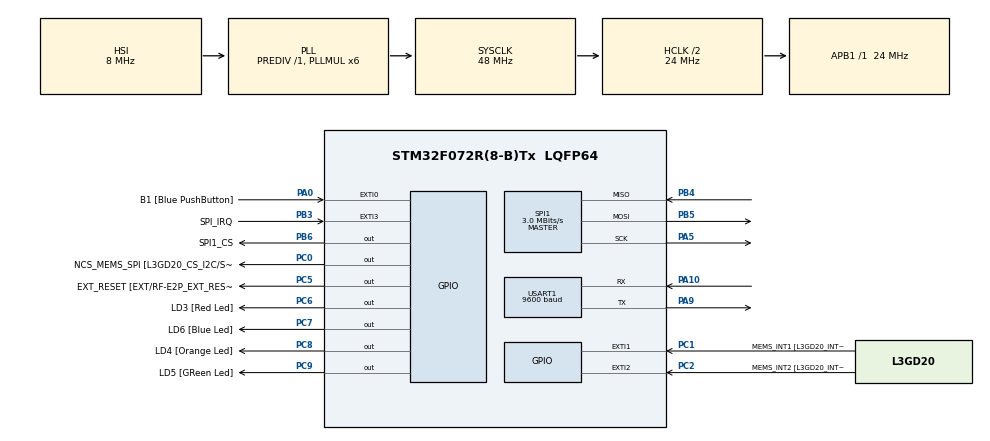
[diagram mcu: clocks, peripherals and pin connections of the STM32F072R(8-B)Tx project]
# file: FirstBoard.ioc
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Mcu.Family=STM32F0
Mcu.Name=STM32F072R(8-B)Tx
Mcu.Package=LQFP64
NVIC.EXTI0_1_IRQn=true\:0\:0\:false\:false\:true\:true
NVIC.EXTI2_3_IRQn=true\:0\:0\:false\:false\:true\:true
NVIC.USART1_IRQn=true\:0\:0\:false\:false\:true\:true
PA0.GPIO_Label=B1 [Blue PushButton]
PA0.GPIO_ModeDefaultEXTI=GPIO_MODE_IT_RISING_FALLING
PA0.Signal=GPXTI0
PA10.Mode=Asynchronous
PA10.Signal=USART1_RX
PA11.GPIO_Label=USBF4_DM
PA11.Signal=USB_DM
PA12.GPIO_Label=USBF4_DP
PA12.Signal=USB_DP
PA13.GPIO_Label=SWDIO
PA13.Signal=SYS_SWDIO
PA14.GPIO_Label=SWCLK
PA14.Signal=SYS_SWCLK
PA2.Signal=TSC_G1_IO3
PA3.Signal=TSC_G1_IO4
PA5.GPIO_PuPd=GPIO_NOPULL
PA5.GPIO_Speed=GPIO_SPEED_FREQ_HIGH
PA5.Mode=Full_Duplex_Master
PA5.Signal=SPI1_SCK
PA6.Signal=TSC_G2_IO3
PA7.Signal=TSC_G2_IO4
PA9.Mode=Asynchronous
PA9.Signal=USART1_TX
PB0.Signal=TSC_G3_IO2
PB1.Signal=TSC_G3_IO3
PB10.GPIO_Label=I2C2_SCL[EXT/RF-E2P_SCL]
PB10.Signal=I2C2_SCL
PB11.GPIO_Label=I2C2_SDA[EXT/RF-E2P_SDA]
PB11.Signal=I2C2_SDA
PB13.GPIO_Label=SPI2_SCK [L3GD20_SCL/SPC]
PB13.Signal=SPI2_SCK
PB14.GPIO_Label=SPI2_MISO [L3GD20_SDO]
PB14.Signal=SPI2_MISO
PB15.GPIO_Label=SPI2_MOSI [L3GD20_SDA/SDI]
PB15.Signal=SPI2_MOSI
PB3.GPIO_Label=SPI_IRQ
PB3.GPIO_ModeDefaultEXTI=GPIO_MODE_IT_RISING
PB3.GPIO_PuPd=GPIO_PULLDOWN
PB3.Signal=GPXTI3
PB4.Mode=Full_Duplex_Master
PB4.Signal=SPI1_MISO
PB5.Mode=Full_Duplex_Master
PB5.Signal=SPI1_MOSI
PB6.GPIO_Label=SPI1_CS
PB6.GPIO_PuPd=GPIO_PULLUP
PB6.Signal=GPIO_Output
PC0.GPIO_Label=NCS_MEMS_SPI [L3GD20_CS_I2C/SPI]
PC0.Signal=GPIO_Output
PC1.GPIO_Label=MEMS_INT1 [L3GD20_INT1]
PC1.GPIO_ModeDefaultEXTI=GPIO_MODE_EVT_RISING
PC1.Signal=GPXTI1
PC2.GPIO_Label=MEMS_INT2 [L3GD20_INT2]
PC2.GPIO_ModeDefaultEXTI=GPIO_MODE_EVT_RISING
PC2.Signal=GPXTI2
PC5.GPIO_Label=EXT_RESET [EXT/RF-E2P_EXT_RESET]
PC5.Signal=GPIO_Output
PC6.GPIO_Label=LD3 [Red Led]
PC6.Signal=GPIO_Output
PC7.GPIO_Label=LD6 [Blue Led]
PC7.Signal=GPIO_Output
PC8.GPIO_Label=LD4 [Orange Led]
PC8.Signal=GPIO_Output
PC9.GPIO_Label=LD5 [GReen Led]
PC9.Signal=GPIO_Output
ProjectManager.HeapSize=0x200
ProjectManager.StackSize=0x400
ProjectManager.TargetToolchain=MDK-ARM V5
RCC.AHBCLKDivider=RCC_SYSCLK_DIV2
RCC.AHBFreq_Value=24000000
RCC.APB1Freq_Value=24000000
RCC.APB1TimFreq_Value=24000000
RCC.HCLKFreq_Value=24000000
RCC.PLLMUL=RCC_PLL_MUL6
RCC.SYSCLKFreq_VALUE=48000000
RCC.SYSCLKSource=RCC_SYSCLKSOURCE_PLLCLK
SPI1.BaudRatePrescaler=SPI_BAUDRATEPRESCALER_8
SPI1.CalculateBaudRate=3.0 MBits/s
SPI1.DataSize=SPI_DATASIZE_8BIT
SPI1.Direction=SPI_DIRECTION_2LINES
SPI1.Mode=SPI_MODE_MASTER
SPI1.NSSPMode=SPI_NSS_PULSE_DISABLE
SPI1.VirtualType=VM_MASTER
USART1.BaudRate=9600
USART1.VirtualMode-Asynchronous=VM_ASYNC
USART1.WordLength=WORDLENGTH_8B
board=STM32F072B-DISCO

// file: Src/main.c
/**
  ******************************************************************************
  * File Name          : main.c
  * Description        : Main program body
  ******************************************************************************
  ** This notice applies to any and all portions of this file
  * that are not between comment pairs USER CODE BEGIN and
  * USER CODE END. Other portions of this file, whether
  * inserted by the user or by software development tools
  * are owned by their respective copyright owners.
  *
  * COPYRIGHT(c) 2018 STMicroelectronics
  *
  * Redistribution and use in source and binary forms, with or without modification,
  * are permitted provided that the following conditions are met:
  *   1. Redistributions of source code must retain the above copyright notice,
  *      this list of conditions and the following disclaimer.
  *   2. Redistributions in binary form must reproduce the above copyright notice,
  *      this list of conditions and the following disclaimer in the documentation
  *      and/or other materials provided with the distribution.
  *   3. Neither the name of STMicroelectronics nor the names of its contributors
  *      may be used to endorse or promote products derived from this software
  *      without specific prior written permission.
  *
  * THIS SOFTWARE IS PROVIDED BY THE COPYRIGHT HOLDERS AND CONTRIBUTORS "AS IS"
  * AND ANY EXPRESS OR IMPLIED WARRANTIES, INCLUDING, BUT NOT LIMITED TO, THE
  * IMPLIED WARRANTIES OF MERCHANTABILITY AND FITNESS FOR A PARTICULAR PURPOSE ARE
  * DISCLAIMED. IN NO EVENT SHALL THE COPYRIGHT HOLDER OR CONTRIBUTORS BE LIABLE
  * FOR ANY DIRECT, INDIRECT, INCIDENTAL, SPECIAL, EXEMPLARY, OR CONSEQUENTIAL
  * DAMAGES (INCLUDING, BUT NOT LIMITED TO, PROCUREMENT OF SUBSTITUTE GOODS OR
  * SERVICES; LOSS OF USE, DATA, OR PROFITS; OR BUSINESS INTERRUPTION) HOWEVER
  * CAUSED AND ON ANY THEORY OF LIABILITY, WHETHER IN CONTRACT, STRICT LIABILITY,
  * OR TORT (INCLUDING NEGLIGENCE OR OTHERWISE) ARISING IN ANY WAY OUT OF THE USE
  * OF THIS SOFTWARE, EVEN IF ADVISED OF THE POSSIBILITY OF SUCH DAMAGE.
  *
  ******************************************************************************
  */

#include "main.h"
#include "stm32f0xx_hal.h"

/* USER CODE BEGIN Includes */
#include "EventRecorder.h"              // Keil.ARM Compiler::Compiler:Event Recorder
#include "stdio.h"
#include "dwm1000.h"
#include <string.h>
#include <inttypes.h>
#include <math.h>
/* USER CODE END Includes */

SPI_HandleTypeDef hspi1;

UART_HandleTypeDef huart1;

/* USER CODE BEGIN PV */
/* Private variables ---------------------------------------------------------*/
uint8_t RxData[128];
uint8_t TxData[128];

int SlaveNummer = 1;
uint8_t master_first_message;
uint8_t master_second_message;
uint8_t slave_standard_message;

uint64_t t1, t2, t3, t4, t5, t6;
uint8_t t1_8[5];
uint8_t t2_8[5];
uint8_t t3_8[5];
uint8_t t4_8[5];
uint8_t t5_8[5];
uint8_t t6_8[5];

double tof;

float distance;
int distancemm[3];
float distanceMeasured;
float correctivePol[] = { -0.0081, 0.0928, 0.6569, -0.0612}; // Obtained from matlab
float previousPos[2];

// Boolean variables
uint8_t TxOk = 0;
uint8_t RxOk = 0;
uint8_t RxError = 0;

int state;

// UART Variables

int uartLen;
char uartBuffer[100];
char uartRx_indx, uartRx_data[2],uartRxBuffer[100], uartTransfer_cplt;
int uartPress_enter = 0;

// antenna calibration variables
int measure_counter = 0;
float moy_distance = 0;
float moy_tof = 0;
float sum_square = 0;
int old_antenna_delay = ANTENNA_DELAY;
/* USER CODE END PV */

void SystemClock_Config(void);
static void MX_GPIO_Init(void);
static void MX_SPI1_Init(void);
static void MX_USART1_UART_Init(void);
void trilateration2D(int ri[3], float prevPos[2]);

/* USER CODE BEGIN PFP */
/* Private function prototypes -----------------------------------------------*/

/* USER CODE END PFP */

int main(void)
{

  /* USER CODE BEGIN 1 */
	EventRecorderInitialize (EventRecordAll, 1);
  /* USER CODE END 1 */

  /* MCU Configuration----------------------------------------------------------*/

  /* Reset of all peripherals, Initializes the Flash interface and the Systick. */
  HAL_Init();

  /* Configure the system clock */
  SystemClock_Config();

  /* Initialize all configured peripherals */
  MX_GPIO_Init();
  MX_SPI1_Init();
  MX_USART1_UART_Init();

  /* USER CODE BEGIN 2 */
	_deviceHandle = &hspi1;					// Assign SPI handle

	/* initialisation of the DecaWave */
	HAL_Delay(10); //time for the DW to go from Wakeup to init and then IDLE
	DWM_Init();
	state = STATE_INIT;

	previousPos[0] = STARTPOSITIONX;
	previousPos[1] = STARTPOSITIONY;

	HAL_UART_Receive_IT(&huart1, (uint8_t *)uartRx_data, 1);

  /* USER CODE END 2 */

  /* Infinite loop */
  while (1)
  {

  /* USER CODE BEGIN 3 */
#ifdef MASTER_BOARD
		switch (state){
				case STATE_INIT :
						if (SlaveNummer > 3){
							SlaveNummer = 1;

							//HAL_Delay(90); // 100msec between 2 measures / ~10ms by measure
						}
						if (SlaveNummer == 1){
							master_first_message = 0x11;
							master_second_message	= 0x21;
							slave_standard_message	= 0x1A;
						}
						else if (SlaveNummer == 2){
							master_first_message = 0x12;
							master_second_message	= 0x22;
							slave_standard_message	= 0x2A;
						}
						else {
							master_first_message = 0x13;
							master_second_message	= 0x23;
							slave_standard_message	= 0x3A;
						}
						// IDLE to save Power
						DWM_Disable_Rx();
						HAL_GPIO_WritePin(GPIOC, LD3_Pin, GPIO_PIN_SET);
						HAL_GPIO_WritePin(GPIOC, LD4_Pin, GPIO_PIN_RESET);
						HAL_GPIO_WritePin(GPIOC, LD5_Pin, GPIO_PIN_RESET);
						HAL_GPIO_WritePin(GPIOC, LD6_Pin, GPIO_PIN_RESET);

						HAL_Delay(1);

						//Send first data
						TxData[0] = master_first_message;
						DWM_SendData(TxData, 1);

						//Change state to wait TX OK (polling)
						state = STATE_WAIT_FIRST_SEND;
				break;

				case STATE_WAIT_FIRST_SEND:
					if (TxOk){
						//get tx time (T1)
						DWM_ReadSPI_ext(TX_TIME, NO_SUB, t1_8, 5);
						state = STATE_WAIT_RESPONSE;
						TxOk = 0;
						HAL_GPIO_WritePin(GPIOC, LD5_Pin, GPIO_PIN_SET);

					}
				break;

				case STATE_WAIT_RESPONSE:
					if (RxError){
						RxError = 0;
						state = STATE_INIT;
					}
					if (RxOk){
						// Read Rx buffer
						DWM_ReceiveData(RxData);
						// Check RxFrame
						if (RxData[0] == slave_standard_message){
							//get rx time (t4)
							DWM_ReadSPI_ext(RX_TIME, NO_SUB, t4_8, 5);

							//Send second time
							//HAL_Delay(1);
							TxData[0] = master_second_message;
							DWM_SendData(TxData, 1);
							state = STATE_WAIT_SECOND_SEND;
							HAL_GPIO_WritePin(GPIOC, LD6_Pin, GPIO_PIN_SET);
						}
						else {
							state = STATE_INIT;
						}
						RxOk = 0;
					}
				break;

				case STATE_WAIT_SECOND_SEND:
						if (TxOk){
						//get tx time (T5)
							DWM_ReadSPI_ext(TX_TIME, NO_SUB, t5_8, 5);
							state = STATE_GET_TIMES;
							TxOk = 0;
					}
				break;

				case STATE_GET_TIMES:
					if (RxError){
						state = STATE_INIT;
						RxError = 0;
					}
					if (RxOk){
						//Read Rx Buffer
						DWM_ReceiveData(RxData);

						HAL_GPIO_WritePin(GPIOC, LD4_Pin, GPIO_PIN_SET);
						for (int i=0;i<5;i++){
							t2_8[i] = RxData[i];
							t3_8[i] = RxData[i+5];
							t6_8[i] = RxData[i+10];
						}
						// Cast all times to uint64
						t1 = t2 = t3 = t4 = t5 = t6 = 0;
						for (int i=0;i<5;i++){
							t1 = (t1 << 8) | t1_8[4-i];
							t2 = (t2 << 8) | t2_8[4-i];
							t3 = (t3 << 8) | t3_8[4-i];
							t4 = (t4 << 8) | t4_8[4-i];
							t5 = (t5 << 8) | t5_8[4-i];
							t6 = (t6 << 8) | t6_8[4-i];
						}
						if (t6 < t2 || t5 < t1){
							state = STATE_INIT;
						}
						else{
							state = STATE_COMPUTE_DISTANCE;
							RxOk = 0;
						}
					}
				break;

				case STATE_COMPUTE_DISTANCE :{
					uint64_t TroundA = (t4-t1);
					uint64_t TreplyB = (t3-t2);
					uint64_t TroundB = (t6-t3);
					uint64_t TreplyA = (t5-t4);
					tof = (TroundA + TroundB) - (TreplyA + TreplyB);
					tof = tof /4;
					if (TreplyB > TroundA){
						tof = 0;
						distance = 0;
					}
					else{
						double distancepicosec = tof/(128*499.2);
						distanceMeasured = distancepicosec * 299792458 * 0.000001;
						distance = correctivePol[0];
						for (int i = 1; i < 4; i++){
							// polynom evaluation
							distance = distance * distanceMeasured + correctivePol[i];
						}

						if (distance < 100){
							// antenna tunning
							distancemm[SlaveNummer-1] = distance*1000;
							if (SlaveNummer == 3){
								/*#ifdef UART_PLUGGED
								__disable_irq();
								uartLen = sprintf(uartBuffer,"[%i,%i,%i] \r\n",distancemm[0],distancemm[1],distancemm[2]);
								HAL_UART_Transmit(&huart1, (uint8_t *)uartBuffer, uartLen, HAL_MAX_DELAY);
								__enable_irq();
								#endif*/
								trilateration2D(distancemm, previousPos);
								#ifdef UART_PLUGGED
								__disable_irq();
								uartLen = sprintf(uartBuffer,"[%f , %f] #%i \r\n",previousPos[0], previousPos[1], measure_counter);
								HAL_UART_Transmit(&huart1, (uint8_t *)uartBuffer, uartLen, HAL_MAX_DELAY);
								__enable_irq();
								#endif
								measure_counter ++ ;
								SlaveNummer = 0;
								if (measure_counter >= 1000){
									state = END_STATE;
									break;
								}
							}
							/*
							else {
							#ifdef UART_PLUGGED
							__disable_irq();
							uartLen = sprintf(uartBuffer,"%f\n",distance);
							HAL_UART_Transmit(&huart1, (uint8_t *)uartBuffer, uartLen, HAL_MAX_DELAY);
							__enable_irq();
							#endif
							}
							*/
							SlaveNummer ++;
						}
					}

					state = STATE_INIT;
				break;}

				case END_STATE:{
					HAL_GPIO_WritePin(GPIOC, LD3_Pin, GPIO_PIN_SET);
					HAL_GPIO_WritePin(GPIOC, LD4_Pin, GPIO_PIN_SET);
					HAL_GPIO_WritePin(GPIOC, LD5_Pin, GPIO_PIN_SET);
					HAL_GPIO_WritePin(GPIOC, LD6_Pin, GPIO_PIN_SET);
					#ifdef UART_PLUGGED
						__disable_irq();
						uartLen = sprintf(uartBuffer, "end\n");
						HAL_UART_Transmit(&huart1, (uint8_t *)uartBuffer, uartLen, HAL_MAX_DELAY);
						__enable_irq();
					#endif
					while (1){
					HAL_Delay(1000);
					}
				break;}
			}
#endif

#ifdef SLAVE_BOARD
		switch (state){
			case STATE_INIT :
				DWM_Enable_Rx();
				HAL_Delay(1);
				state = STATE_WAIT_RECEIVE;
				#ifdef SLAVE1_BOARD
				HAL_GPIO_WritePin(GPIOC, LD3_Pin, GPIO_PIN_RESET);
				HAL_GPIO_WritePin(GPIOC, LD4_Pin, GPIO_PIN_SET);
				HAL_GPIO_WritePin(GPIOC, LD5_Pin, GPIO_PIN_RESET);
				HAL_GPIO_WritePin(GPIOC, LD6_Pin, GPIO_PIN_RESET);
				#endif
				#ifdef SLAVE2_BOARD
				HAL_GPIO_WritePin(GPIOC, LD3_Pin, GPIO_PIN_RESET);
				HAL_GPIO_WritePin(GPIOC, LD4_Pin, GPIO_PIN_RESET);
				HAL_GPIO_WritePin(GPIOC, LD5_Pin, GPIO_PIN_RESET);
				HAL_GPIO_WritePin(GPIOC, LD6_Pin, GPIO_PIN_SET);
				#endif
				#ifdef SLAVE3_BOARD
				HAL_GPIO_WritePin(GPIOC, LD3_Pin, GPIO_PIN_RESET);
				HAL_GPIO_WritePin(GPIOC, LD4_Pin, GPIO_PIN_RESET);
				HAL_GPIO_WritePin(GPIOC, LD5_Pin, GPIO_PIN_SET);
				HAL_GPIO_WritePin(GPIOC, LD6_Pin, GPIO_PIN_RESET);
				#endif
			break;

			case STATE_WAIT_RECEIVE :
				if (RxError){
					state = STATE_INIT;
					RxError = 0;
				}
				if (RxOk){
					// Read Rx buffer
					DWM_ReceiveData(RxData);
					// Check RxFrame
					if (RxData[0] == MASTER_FIRST_MESSAGE){
						state = STATE_MESSAGE_1;
						HAL_GPIO_WritePin(GPIOC, LD5_Pin, GPIO_PIN_SET);
					}
					else if (RxData[0] == MASTER_SECOND_MESSAGE){
						state = STATE_MESSAGE_2;
						HAL_GPIO_WritePin(GPIOC, LD4_Pin, GPIO_PIN_SET);
					}
					else {state = STATE_INIT;}
					RxOk = 0;
				}
			break;

			case STATE_MESSAGE_1:
				// get T2
				DWM_ReadSPI_ext(RX_TIME,NO_SUB, t2_8,5);
				//HAL_Delay(1);
				TxData[0] = SLAVE_STANDARD_MESSAGE;
				DWM_SendData(TxData, 1);
				state = STATE_SEND_RESPONSE;
			break;

			case STATE_SEND_RESPONSE :
				if (TxOk){
					//get tx time (T3)
					HAL_GPIO_WritePin(GPIOC, LD6_Pin, GPIO_PIN_SET);
					DWM_ReadSPI_ext(TX_TIME, NO_SUB, t3_8, 5);
					TxOk = 0;
					state = STATE_WAIT_RECEIVE;
				}
			break;

			case STATE_MESSAGE_2 :
				//get T6
				DWM_ReadSPI_ext(RX_TIME, NO_SUB, t6_8,5);
				state = STATE_SEND_TIMES;
			break;

			case STATE_SEND_TIMES :
				for (int i=0; i<5; i++){
					TxData[i] = t2_8[i];
					TxData[i+5] = t3_8[i];
					TxData[i+10] = t6_8[i];
				}
				//HAL_Delay(1);
				DWM_SendData(TxData, 15);

				state = STATE_END_CYCLE;
			break;

			case STATE_END_CYCLE :
				if (TxOk){
					TxOk = 0;
					state = STATE_INIT;
				}
			break;
		}
#endif
  }
  /* USER CODE END 3 */

}

/** System Clock Configuration
*/
void SystemClock_Config(void)
{

  RCC_OscInitTypeDef RCC_OscInitStruct;
  RCC_ClkInitTypeDef RCC_ClkInitStruct;
  RCC_PeriphCLKInitTypeDef PeriphClkInit;

    /**Initializes the CPU, AHB and APB busses clocks
    */
  RCC_OscInitStruct.OscillatorType = RCC_OSCILLATORTYPE_HSI;
  RCC_OscInitStruct.HSIState = RCC_HSI_ON;
  RCC_OscInitStruct.HSICalibrationValue = 16;
  RCC_OscInitStruct.PLL.PLLState = RCC_PLL_ON;
  RCC_OscInitStruct.PLL.PLLSource = RCC_PLLSOURCE_HSI;
  RCC_OscInitStruct.PLL.PLLMUL = RCC_PLL_MUL6;
  RCC_OscInitStruct.PLL.PREDIV = RCC_PREDIV_DIV1;
  if (HAL_RCC_OscConfig(&RCC_OscInitStruct) != HAL_OK)
  {
    _Error_Handler(__FILE__, __LINE__);
  }

    /**Initializes the CPU, AHB and APB busses clocks
    */
  RCC_ClkInitStruct.ClockType = RCC_CLOCKTYPE_HCLK|RCC_CLOCKTYPE_SYSCLK
                              |RCC_CLOCKTYPE_PCLK1;
  RCC_ClkInitStruct.SYSCLKSource = RCC_SYSCLKSOURCE_PLLCLK;
  RCC_ClkInitStruct.AHBCLKDivider = RCC_SYSCLK_DIV2;
  RCC_ClkInitStruct.APB1CLKDivider = RCC_HCLK_DIV1;

  if (HAL_RCC_ClockConfig(&RCC_ClkInitStruct, FLASH_LATENCY_0) != HAL_OK)
  {
    _Error_Handler(__FILE__, __LINE__);
  }

  PeriphClkInit.PeriphClockSelection = RCC_PERIPHCLK_USART1;
  PeriphClkInit.Usart1ClockSelection = RCC_USART1CLKSOURCE_PCLK1;
  if (HAL_RCCEx_PeriphCLKConfig(&PeriphClkInit) != HAL_OK)
  {
    _Error_Handler(__FILE__, __LINE__);
  }

    /**Configure the Systick interrupt time
    */
  HAL_SYSTICK_Config(HAL_RCC_GetHCLKFreq()/1000);

    /**Configure the Systick
    */
  HAL_SYSTICK_CLKSourceConfig(SYSTICK_CLKSOURCE_HCLK);

  /* SysTick_IRQn interrupt configuration */
  HAL_NVIC_SetPriority(SysTick_IRQn, 0, 0);
}

/* SPI1 init function */
static void MX_SPI1_Init(void)
{

  /* SPI1 parameter configuration*/
  hspi1.Instance = SPI1;
  hspi1.Init.Mode = SPI_MODE_MASTER;
  hspi1.Init.Direction = SPI_DIRECTION_2LINES;
  hspi1.Init.DataSize = SPI_DATASIZE_8BIT;
  hspi1.Init.CLKPolarity = SPI_POLARITY_LOW;
  hspi1.Init.CLKPhase = SPI_PHASE_1EDGE;
  hspi1.Init.NSS = SPI_NSS_SOFT;
  hspi1.Init.BaudRatePrescaler = SPI_BAUDRATEPRESCALER_8;
  hspi1.Init.FirstBit = SPI_FIRSTBIT_MSB;
  hspi1.Init.TIMode = SPI_TIMODE_DISABLE;
  hspi1.Init.CRCCalculation = SPI_CRCCALCULATION_DISABLE;
  hspi1.Init.CRCPolynomial = 7;
  hspi1.Init.CRCLength = SPI_CRC_LENGTH_DATASIZE;
  hspi1.Init.NSSPMode = SPI_NSS_PULSE_DISABLE;
  if (HAL_SPI_Init(&hspi1) != HAL_OK)
  {
    _Error_Handler(__FILE__, __LINE__);
  }

}

/* USART1 init function */
static void MX_USART1_UART_Init(void)
{

  huart1.Instance = USART1;
  huart1.Init.BaudRate = 9600;
  huart1.Init.WordLength = UART_WORDLENGTH_8B;
  huart1.Init.StopBits = UART_STOPBITS_1;
  huart1.Init.Parity = UART_PARITY_NONE;
  huart1.Init.Mode = UART_MODE_TX_RX;
  huart1.Init.HwFlowCtl = UART_HWCONTROL_NONE;
  huart1.Init.OverSampling = UART_OVERSAMPLING_16;
  huart1.Init.OneBitSampling = UART_ONE_BIT_SAMPLE_DISABLE;
  huart1.AdvancedInit.AdvFeatureInit = UART_ADVFEATURE_NO_INIT;
  if (HAL_UART_Init(&huart1) != HAL_OK)
  {
    _Error_Handler(__FILE__, __LINE__);
  }

}

/** Configure pins as
        * Analog
        * Input
        * Output
        * EVENT_OUT
        * EXTI
     PA2   ------> TSC_G1_IO3
     PA3   ------> TSC_G1_IO4
     PA6   ------> TSC_G2_IO3
     PA7   ------> TSC_G2_IO4
     PB0   ------> TSC_G3_IO2
     PB1   ------> TSC_G3_IO3
     PB10   ------> I2C2_SCL
     PB11   ------> I2C2_SDA
     PB13   ------> SPI2_SCK
     PB14   ------> SPI2_MISO
     PB15   ------> SPI2_MOSI
*/
static void MX_GPIO_Init(void)
{

  GPIO_InitTypeDef GPIO_InitStruct;

  /* GPIO Ports Clock Enable */
  __HAL_RCC_GPIOC_CLK_ENABLE();
  __HAL_RCC_GPIOA_CLK_ENABLE();
  __HAL_RCC_GPIOB_CLK_ENABLE();

  /*Configure GPIO pin Output Level */
  HAL_GPIO_WritePin(GPIOC, NCS_MEMS_SPI_Pin|EXT_RESET_Pin|LD3_Pin|LD6_Pin
                          |LD4_Pin|LD5_Pin, GPIO_PIN_RESET);

  /*Configure GPIO pin Output Level */
  HAL_GPIO_WritePin(SPI1_CS_GPIO_Port, SPI1_CS_Pin, GPIO_PIN_RESET);

  /*Configure GPIO pins : NCS_MEMS_SPI_Pin EXT_RESET_Pin LD3_Pin LD6_Pin
                           LD4_Pin LD5_Pin */
  GPIO_InitStruct.Pin = NCS_MEMS_SPI_Pin|EXT_RESET_Pin|LD3_Pin|LD6_Pin
                          |LD4_Pin|LD5_Pin;
  GPIO_InitStruct.Mode = GPIO_MODE_OUTPUT_PP;
  GPIO_InitStruct.Pull = GPIO_NOPULL;
  GPIO_InitStruct.Speed = GPIO_SPEED_FREQ_LOW;
  HAL_GPIO_Init(GPIOC, &GPIO_InitStruct);

  /*Configure GPIO pins : MEMS_INT1_Pin MEMS_INT2_Pin */
  GPIO_InitStruct.Pin = MEMS_INT1_Pin|MEMS_INT2_Pin;
  GPIO_InitStruct.Mode = GPIO_MODE_EVT_RISING;
  GPIO_InitStruct.Pull = GPIO_NOPULL;
  HAL_GPIO_Init(GPIOC, &GPIO_InitStruct);

  /*Configure GPIO pin : B1_Pin */
  GPIO_InitStruct.Pin = B1_Pin;
  GPIO_InitStruct.Mode = GPIO_MODE_IT_RISING_FALLING;
  GPIO_InitStruct.Pull = GPIO_NOPULL;
  HAL_GPIO_Init(B1_GPIO_Port, &GPIO_InitStruct);

  /*Configure GPIO pins : PA2 PA3 PA6 PA7 */
  GPIO_InitStruct.Pin = GPIO_PIN_2|GPIO_PIN_3|GPIO_PIN_6|GPIO_PIN_7;
  GPIO_InitStruct.Mode = GPIO_MODE_AF_PP;
  GPIO_InitStruct.Pull = GPIO_NOPULL;
  GPIO_InitStruct.Speed = GPIO_SPEED_FREQ_LOW;
  GPIO_InitStruct.Alternate = GPIO_AF3_TSC;
  HAL_GPIO_Init(GPIOA, &GPIO_InitStruct);

  /*Configure GPIO pins : PB0 PB1 */
  GPIO_InitStruct.Pin = GPIO_PIN_0|GPIO_PIN_1;
  GPIO_InitStruct.Mode = GPIO_MODE_AF_PP;
  GPIO_InitStruct.Pull = GPIO_NOPULL;
  GPIO_InitStruct.Speed = GPIO_SPEED_FREQ_LOW;
  GPIO_InitStruct.Alternate = GPIO_AF3_TSC;
  HAL_GPIO_Init(GPIOB, &GPIO_InitStruct);

  /*Configure GPIO pins : I2C2_SCL_Pin I2C2_SDA_Pin */
  GPIO_InitStruct.Pin = I2C2_SCL_Pin|I2C2_SDA_Pin;
  GPIO_InitStruct.Mode = GPIO_MODE_AF_OD;
  GPIO_InitStruct.Pull = GPIO_PULLUP;
  GPIO_InitStruct.Speed = GPIO_SPEED_FREQ_HIGH;
  GPIO_InitStruct.Alternate = GPIO_AF1_I2C2;
  HAL_GPIO_Init(GPIOB, &GPIO_InitStruct);

  /*Configure GPIO pins : SPI2_SCK_Pin SPI2_MISO_Pin SPI2_MOSI_Pin */
  GPIO_InitStruct.Pin = SPI2_SCK_Pin|SPI2_MISO_Pin|SPI2_MOSI_Pin;
  GPIO_InitStruct.Mode = GPIO_MODE_AF_PP;
  GPIO_InitStruct.Pull = GPIO_NOPULL;
  GPIO_InitStruct.Speed = GPIO_SPEED_FREQ_HIGH;
  GPIO_InitStruct.Alternate = GPIO_AF0_SPI2;
  HAL_GPIO_Init(GPIOB, &GPIO_InitStruct);

  /*Configure GPIO pin : SPI_IRQ_Pin */
  GPIO_InitStruct.Pin = SPI_IRQ_Pin;
  GPIO_InitStruct.Mode = GPIO_MODE_IT_RISING;
  GPIO_InitStruct.Pull = GPIO_PULLDOWN;
  HAL_GPIO_Init(SPI_IRQ_GPIO_Port, &GPIO_InitStruct);

  /*Configure GPIO pin : SPI1_CS_Pin */
  GPIO_InitStruct.Pin = SPI1_CS_Pin;
  GPIO_InitStruct.Mode = GPIO_MODE_OUTPUT_PP;
  GPIO_InitStruct.Pull = GPIO_PULLUP;
  GPIO_InitStruct.Speed = GPIO_SPEED_FREQ_LOW;
  HAL_GPIO_Init(SPI1_CS_GPIO_Port, &GPIO_InitStruct);

  /* EXTI interrupt init*/
  HAL_NVIC_SetPriority(EXTI0_1_IRQn, 0, 0);
  HAL_NVIC_EnableIRQ(EXTI0_1_IRQn);

  HAL_NVIC_SetPriority(EXTI2_3_IRQn, 0, 0);
  HAL_NVIC_EnableIRQ(EXTI2_3_IRQn);

}

/* USER CODE BEGIN 4 */

void trilateration2D(int ri[3], float prevPos[2]){
    int p[3][2];
    p[0][0] = BEACONPOS1X;
    p[0][1] = BEACONPOS1Y;
    p[1][0] = BEACONPOS2X;
    p[1][1] = BEACONPOS2Y;
    p[2][0] = BEACONPOS3X;
    p[2][1] = BEACONPOS3Y;

    // computing a
    float a[2] = {0,0};
    float ppTp[2] = {0,0};
    float rp[2] = {0,0};
    for (int i=0; i<3;i++){
        ppTp[0] += pow(p[i][0],3) + p[i][0] * pow(p[i][1],2);
        ppTp[1] += pow(p[i][1],3) + p[i][1] * pow(p[i][0],2);
        rp[0] += p[i][0] * pow(ri[i],2);
        rp[1] += p[i][1] * pow(ri[i],2);
    }
    for (int i=0;i<2;i++){
        a[i] = (ppTp[i]-rp[i])/3.0;
    }

    // computing B
    float B[2][2] = {{0,0},{0,0}};
    float ppT[2][2] = {{0,0},{0,0}};
    float pTpI[2][2] = {{0,0},{0,0}};
    float rI[2][2] = {{0,0},{0,0}};
    for (int i=0;i<3;i++){
        for(int j=0;j<2;j++){
            for(int k=0;k<2;k++){
                ppT[j][k] += p[i][j] * p[i][k];
            }

            pTpI[j][j] += pow(p[i][0],2) + pow(p[i][1],2);
            rI[j][j] += pow(ri[i],2);
        }
    }
    for (int i=0;i<2;i++){
        for (int j=0;j<2;j++){
            B[i][j] = (-2.0*ppT[i][j] - pTpI[i][j] + rI[i][j])/3;
        }
    }

    // computing c
    float c[2] = {0,0};
    for (int i=0;i<3;i++){
        for(int j=0;j<2;j++){
            c[j] += p[i][j];
        }
    }
    for (int i=0;i<2;i++){
        c[i] = c[i]/3.0;
    }

    // computing f
    float f[2] = {0,0};
    float ccTc[2] = {0,0};
    float Bc[2] = {0,0};
    ccTc[0] = 2*(pow(c[0],3) + c[0] * pow(c[1],2));
    ccTc[1] = 2*(pow(c[1],3) + c[1] * pow(c[0],2));
    Bc[0] = B[0][0]*c[0] + B[0][1]*c[1];
    Bc[1] = B[1][0]*c[0] + B[1][1]*c[1];
    for (int i=0;i<2;i++){
        f[i] = a[i] + Bc[i] + ccTc[i];
    }

    // H
    float H[2][2] = {{0,0},{0,0}};
    float ccT[2][2] = {{0,0},{0,0}};
    for(int i=0;i<2;i++){
        for(int j=0;j<2;j++){
            ccT[i][j] = c[i]*c[j];
            H[i][j] = -2.0/3.0 * ppT [i][j] + 2*ccT[i][j];
        }
    }
		// H-1
		// det(H)
		float detH = H[0][0]*H[1][1] - H[0][1]*H[1][0];
		float invH[2][2] = {{H[1][1]/detH, -H[0][1]/detH},{-H[1][0]/detH,H[0][0]/detH}};

		//q = -h-1*f
		float q[2] = {-invH[0][0]*f[0] - invH[0][1]*f[1],-invH[1][0]*f[0] - invH[1][1]*f[1]};

		prevPos[0] = c[0] + q[0];
		prevPos[1] = c[1] + q[1];
}

void HAL_GPIO_EXTI_Callback(uint16_t GPIO_Pin){
	if (GPIO_Pin == B1_Pin) {state = END_STATE;}
	if (GPIO_Pin != SPI_IRQ_Pin){return;}
	uint8_t RxBuffer[4];
	uint32_t StatusRegister;
	uint8_t ack[4];
	memset(ack, 0, 4);
	// Getting status Register
	DWM_ReadSPI_ext(SYS_STATUS, NO_SUB,  RxBuffer, 4);
	StatusRegister  = (RxBuffer[3] << 24) | (RxBuffer[2] << 16) | (RxBuffer[1] << 8) | RxBuffer[0];
	if (StatusRegister == 0xFFFFFFFF) {
		// Read again
		DWM_ReadSPI_ext(SYS_STATUS, NO_SUB,  RxBuffer, 4);
		StatusRegister  = (RxBuffer[3] << 24) | (RxBuffer[2] << 16) | (RxBuffer[1] << 8) | RxBuffer[0];
	}
	if (StatusRegister & TX_OK_MASK){
		TxOk = 1;
		setBit(ack, 4, TX_OK_BIT, 1);
	}
	// check if RX finished
	if (StatusRegister & RX_FINISHED_MASK){
		setBit(ack, 4, RX_FINISHED_BIT, 1);
		// check in no error in RX
		if (StatusRegister & RX_NO_ERROR_MASK){
			RxOk = 1;
			setBit(ack, 4, RX_NO_ERROR_BIT, 1);
		}
	}
	if ((StatusRegister & RX_ERROR_MASK) | (StatusRegister & RX_TIMEOUT_MASK)){
		RxError = 1;
		setBit(ack,4,12,1);
		setBit(ack,4,17,1);
	}
	// clear IRQ flags on DW
	DWM_WriteSPI_ext(SYS_STATUS ,NO_SUB, ack, 4);
}
void HAL_UART_RxCpltCallback(UART_HandleTypeDef *huart){
	if (huart->Instance == USART1){  //current UART
		if (uartRx_data[0]==13){ //if received data is ascii 13 (enter)
			uartPress_enter = 1;
		}
		HAL_UART_Receive_IT(&huart1, (uint8_t *)uartRx_data, 1);
	}
}

/* USER CODE END 4 */

void _Error_Handler(char * file, int line)
{
  while(1)
  {
  }
}

/************************ (C) COPYRIGHT STMicroelectronics *****END OF FILE****/
